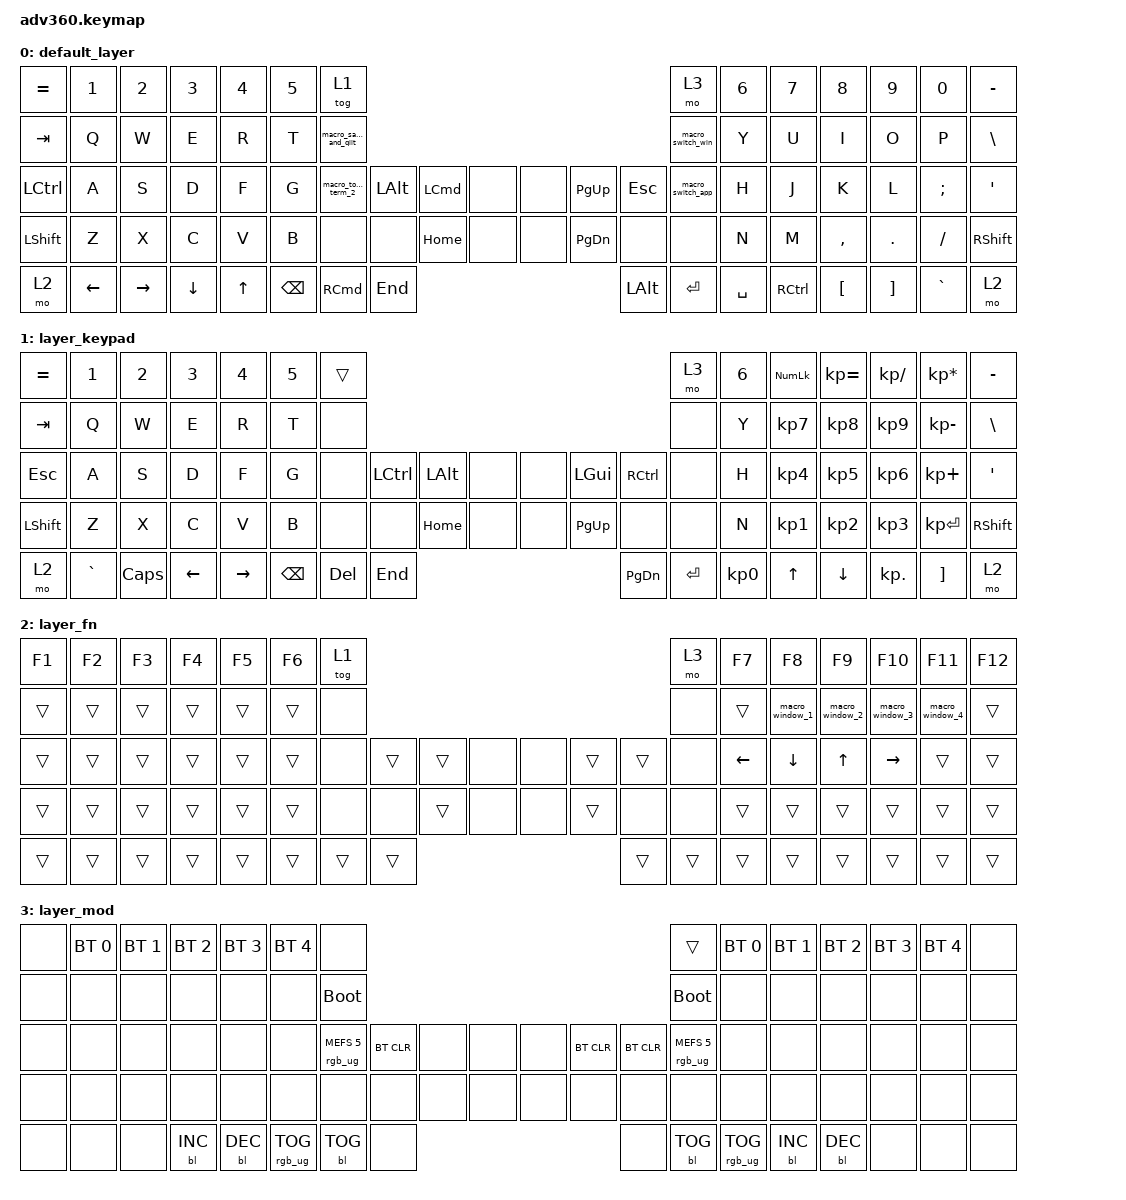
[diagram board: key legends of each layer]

/*
 * Copyright (c) 2020 The ZMK Contributors
 *
 * SPDX-License-Identifier: MIT
 */


/* THIS FILE WAS GENERATED!
 *
 * This file was generated automatically. You may or may not want to
 * edit it directly.
 */

#include <behaviors.dtsi>
#include <dt-bindings/zmk/keys.h>
#include <dt-bindings/zmk/bt.h>
#include <dt-bindings/zmk/rgb.h>
#include <dt-bindings/zmk/backlight.h>

/ {
  behaviors {
    #include "macros.dtsi"
    #include "version.dtsi"

    hm: homerow_mods {
        compatible = "zmk,behavior-hold-tap";
        label = "HOMEROW_MODS";
        #binding-cells = <2>;
        tapping-term-ms = <200>;
        quick_tap_ms = <175>;
        flavor = "tap-preferred";
        bindings = <&kp>, <&kp>;
    };
  };

    keymap {
        compatible = "zmk,keymap";


        default_layer {
            bindings = <
 &kp EQUAL    &kp N1     &kp N2    &kp N3  &kp N4  &kp N5                           &tog 1                                                                                             &mo 3  &kp N6             &kp N7     &kp N8    &kp N9     &kp N0  &kp MINUS
   &kp TAB     &kp Q      &kp W     &kp E   &kp R   &kp T            &macro_saave_and_qiit                                                                                 &macro_switch_win   &kp Y              &kp U      &kp I     &kp O      &kp P   &kp BSLH
 &kp LCTRL     &kp A      &kp S     &kp D   &kp F   &kp G             &macro_toggle_term_2       &kp LEFT_ALT  &kp LEFT_COMMAND   &none   &none    &kp PAGE_UP    &kp ESC  &macro_switch_app   &kp H              &kp J      &kp K     &kp L   &kp SEMI    &kp SQT
 &kp LSHFT     &kp Z      &kp X     &kp C   &kp V   &kp B                            &none              &none          &kp HOME   &none   &none  &kp PAGE_DOWN      &none              &none   &kp N              &kp M  &kp COMMA   &kp DOT   &kp FSLH  &kp RSHFT
     &mo 2  &kp LEFT  &kp RIGHT  &kp DOWN  &kp UP                            &kp BACKSPACE  &kp RIGHT_COMMAND           &kp END                   &kp LEFT_ALT  &kp ENTER          &kp SPACE          &kp RIGHT_CONTROL   &kp LBKT  &kp RBKT  &kp GRAVE      &mo 2
            >;
        };

        layer_keypad {
            bindings = <
 &kp EQUAL     &kp N1    &kp N2    &kp N3     &kp N4  &kp N5              &trans                                                                 &mo 3  &kp N6  &kp KP_NUM  &kp KP_EQUAL  &kp KP_DIVIDE  &kp KP_MULTIPLY  &kp MINUS
   &kp TAB      &kp Q     &kp W     &kp E      &kp R   &kp T               &none                                                                 &none   &kp Y   &kp KP_N7     &kp KP_N8      &kp KP_N9     &kp KP_MINUS   &kp BSLH
   &kp ESC      &kp A     &kp S     &kp D      &kp F   &kp G               &none  &kp LCTRL  &kp LALT   &none   &none   &kp LGUI  &kp RCTRL      &none   &kp H   &kp KP_N4     &kp KP_N5      &kp KP_N6      &kp KP_PLUS    &kp SQT
 &kp LSHFT      &kp Z     &kp X     &kp C      &kp V   &kp B               &none      &none  &kp HOME   &none   &none  &kp PG_UP      &none      &none   &kp N   &kp KP_N1     &kp KP_N2      &kp KP_N3     &kp KP_ENTER  &kp RSHFT
     &mo 2  &kp GRAVE  &kp CAPS  &kp LEFT  &kp RIGHT                    &kp BSPC    &kp DEL   &kp END                  &kp PG_DN  &kp ENTER  &kp KP_N0              &kp UP      &kp DOWN     &kp KP_DOT         &kp RBKT      &mo 2
            >;
        };

        layer_fn {
            bindings = <
 &kp F1  &kp F2  &kp F3  &kp F4  &kp F5  &kp F6            &tog 1                                                   &mo 3          &kp F7           &kp F8           &kp F9          &kp F10          &kp F11  &kp F12
 &trans  &trans  &trans  &trans  &trans  &trans             &none                                                   &none          &trans  &macro_window_1  &macro_window_2  &macro_window_3  &macro_window_4   &trans
 &trans  &trans  &trans  &trans  &trans  &trans             &none  &trans  &trans   &none   &none  &trans  &trans   &none  &kp LEFT_ARROW   &kp DOWN_ARROW     &kp UP_ARROW  &kp RIGHT_ARROW           &trans   &trans
 &trans  &trans  &trans  &trans  &trans  &trans             &none   &none  &trans   &none   &none  &trans   &none   &none          &trans           &trans           &trans           &trans           &trans   &trans
 &trans  &trans  &trans  &trans  &trans                    &trans  &trans  &trans                  &trans  &trans  &trans                           &trans           &trans           &trans           &trans   &trans
            >;
        };

        layer_mod {
            bindings = <
  &none  &bt BT_SEL 0  &bt BT_SEL 1  &bt BT_SEL 2  &bt BT_SEL 3  &bt BT_SEL 4                             &none                                                                              &trans  &bt BT_SEL 0  &bt BT_SEL 1  &bt BT_SEL 2  &bt BT_SEL 3  &bt BT_SEL 4   &none
  &none         &none         &none         &none         &none         &none                       &bootloader                                                                         &bootloader         &none         &none         &none         &none         &none   &none
  &none         &none         &none         &none         &none         &none            &rgb_ug RGB_MEFS_CMD 5  &bt BT_CLR   &none   &none   &none  &bt BT_CLR  &bt BT_CLR  &rgb_ug RGB_MEFS_CMD 5         &none         &none         &none         &none         &none   &none
  &none         &none         &none         &none         &none         &none                             &none       &none   &none   &none   &none       &none       &none                   &none         &none         &none         &none         &none         &none   &none
  &none         &none         &none    &bl BL_INC    &bl BL_DEC                                 &rgb_ug RGB_TOG  &bl BL_TOG   &none                       &none  &bl BL_TOG         &rgb_ug RGB_TOG                  &bl BL_INC    &bl BL_DEC         &none         &none   &none
            >;
        };

    };
};
